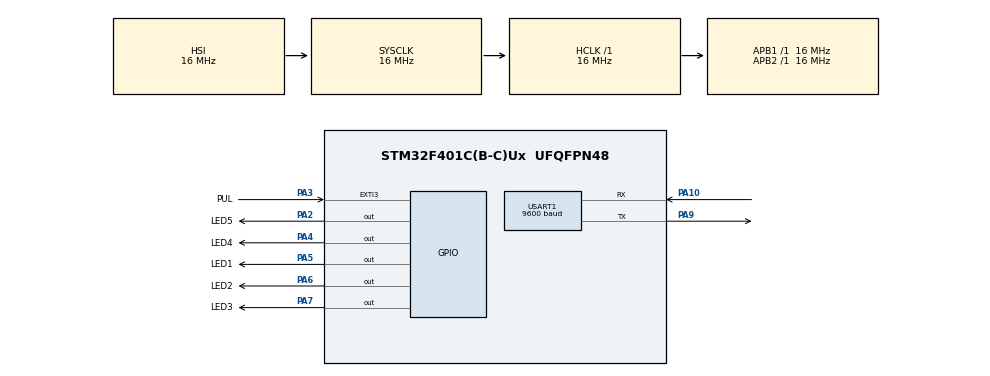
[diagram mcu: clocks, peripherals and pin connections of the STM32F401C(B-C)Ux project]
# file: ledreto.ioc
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Dma.Request0=USART1_RX
Dma.USART1_RX.0.Direction=DMA_PERIPH_TO_MEMORY
Dma.USART1_RX.0.FIFOMode=DMA_FIFOMODE_DISABLE
Dma.USART1_RX.0.Instance=DMA2_Stream2
Dma.USART1_RX.0.MemDataAlignment=DMA_MDATAALIGN_BYTE
Dma.USART1_RX.0.MemInc=DMA_MINC_ENABLE
Dma.USART1_RX.0.Mode=DMA_NORMAL
Dma.USART1_RX.0.PeriphDataAlignment=DMA_PDATAALIGN_BYTE
Dma.USART1_RX.0.PeriphInc=DMA_PINC_DISABLE
Dma.USART1_RX.0.Priority=DMA_PRIORITY_LOW
Mcu.Family=STM32F4
Mcu.Name=STM32F401C(B-C)Ux
Mcu.Package=UFQFPN48
NVIC.DMA2_Stream2_IRQn=true\:0\:0\:false\:false\:true\:false\:true\:true
NVIC.EXTI3_IRQn=true\:0\:0\:false\:false\:true\:true\:true\:true
NVIC.PriorityGroup=NVIC_PRIORITYGROUP_2
NVIC.TIM1_UP_TIM10_IRQn=true\:1\:0\:true\:false\:true\:true\:true\:true
NVIC.USART1_IRQn=true\:1\:0\:true\:false\:true\:true\:true\:true
PA10.Mode=Asynchronous
PA10.Signal=USART1_RX
PA2.GPIO_Label=LED5
PA2.Signal=GPIO_Output
PA3.GPIO_Label=PUL
PA3.GPIO_ModeDefaultEXTI=GPIO_MODE_IT_RISING
PA3.GPIO_PuPd=GPIO_PULLDOWN
PA3.Signal=GPXTI3
PA4.GPIO_Label=LED4
PA4.Signal=GPIO_Output
PA5.GPIO_Label=LED1
PA5.Signal=GPIO_Output
PA6.GPIO_Label=LED2
PA6.Signal=GPIO_Output
PA7.GPIO_Label=LED3
PA7.Signal=GPIO_Output
PA9.Mode=Asynchronous
PA9.Signal=USART1_TX
ProjectManager.HeapSize=0x200
ProjectManager.StackSize=0x400
ProjectManager.TargetToolchain=CMake
RCC.AHBFreq_Value=16000000
RCC.APB1Freq_Value=16000000
RCC.APB2Freq_Value=16000000
RCC.CortexFreq_Value=16000000
RCC.HSE_VALUE=25000000
RCC.HSI_VALUE=16000000
RCC.LSE_VALUE=32768
RCC.SYSCLKFreq_VALUE=16000000
RCC.VCOOutputFreq_Value=192000000
TIM1.AutoReloadPreload=TIM_AUTORELOAD_PRELOAD_ENABLE
TIM1.Period=100-1
TIM1.Prescaler=16000-1
USART1.BaudRate=9600
USART1.VirtualMode=VM_ASYNC
VP_TIM1_VS_ClockSourceINT.Mode=Internal
board=custom

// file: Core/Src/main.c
/* USER CODE BEGIN Header */
/**
  ******************************************************************************
  * @file           : main.c
  * @brief          : Main program body
  ******************************************************************************
  * @attention
  *
  * Copyright (c) 2026 STMicroelectronics.
  * All rights reserved.
  *
  * This software is licensed under terms that can be found in the LICENSE file
  * in the root directory of this software component.
  * If no LICENSE file comes with this software, it is provided AS-IS.
  *
  ******************************************************************************
  */
/* USER CODE END Header */
#include "main.h"

/* USER CODE BEGIN Includes */
#include "UARTRX.h"
#include "uart.h"
#include <string.h>

/* USER CODE END Includes */

TIM_HandleTypeDef htim1;

UART_HandleTypeDef huart1;
DMA_HandleTypeDef hdma_usart1_rx;

/* USER CODE BEGIN PV */
volatile uint16_t cont_500ms  = 0;
volatile uint16_t cont_2000ms = 0;

/* USER CODE END PV */

void SystemClock_Config(void);
static void MX_GPIO_Init(void);
static void MX_DMA_Init(void);
static void MX_TIM1_Init(void);
static void MX_USART1_UART_Init(void);
/* USER CODE BEGIN PFP */
void procesa_rx(void);

/* USER CODE END PFP */

/* Private user code -----------------------|----------------------------------*/
/* USER CODE BEGIN 0 */
void procesa_rx(void)
{
    const char *comando = (const char *)UARTRX1.trama_rx;

    if (strstr(comando, "LED5 ON") || strstr(comando, "CINCO ON"))
    {
        HAL_GPIO_WritePin(GPIOA, LED5_Pin, GPIO_PIN_SET);
        uartx_write_text(&huart1, "\r\n-> LED5 (CINCO) ENCENDIDO\r\n");
    }
    else if (strstr(comando, "LED5 OFF") || strstr(comando, "CINCO OFF"))
    {
        HAL_GPIO_WritePin(GPIOA, LED5_Pin, GPIO_PIN_RESET);
        uartx_write_text(&huart1, "\r\n-> LED5 (CINCO) APAGADO\r\n");
    }
    else
    {
        uartx_write_text(&huart1, "\r\n-> COMANDO NO VALIDO\r\n");
    }
}

/* USER CODE END 0 */

int main(void)
{

  /* MCU Configuration--------------------------------------------------------*/

  /* Reset of all peripherals, Initializes the Flash interface and the Systick. */
  HAL_Init();

  /* Configure the system clock */
  SystemClock_Config();

  /* Initialize all configured peripherals */
  MX_GPIO_Init();
  MX_DMA_Init();
  MX_TIM1_Init();
  MX_USART1_UART_Init();
  /* USER CODE BEGIN 2 */
    HAL_TIM_Base_Start_IT(&htim1);
    uartRX_it_idle_dma_init(&UARTRX1);
  /* USER CODE END 2 */

  /* Infinite loop */
    while (1)
    {

    /* USER CODE BEGIN 3 */
    if (UARTRX1.flag_rx == 1)
    {
        procesa_rx();
        uartRX_DMA_Re_init(&UARTRX1);
    }

    }
  /* USER CODE END 3 */
}

void SystemClock_Config(void)
{
  RCC_OscInitTypeDef RCC_OscInitStruct = {0};
  RCC_ClkInitTypeDef RCC_ClkInitStruct = {0};

  /** Configure the main internal regulator output voltage
  */
  __HAL_RCC_PWR_CLK_ENABLE();
  __HAL_PWR_VOLTAGESCALING_CONFIG(PWR_REGULATOR_VOLTAGE_SCALE2);

  /** Initializes the RCC Oscillators according to the specified parameters
  * in the RCC_OscInitTypeDef structure.
  */
  RCC_OscInitStruct.OscillatorType = RCC_OSCILLATORTYPE_HSI;
  RCC_OscInitStruct.HSIState = RCC_HSI_ON;
  RCC_OscInitStruct.HSICalibrationValue = RCC_HSICALIBRATION_DEFAULT;
  RCC_OscInitStruct.PLL.PLLState = RCC_PLL_NONE;
  if (HAL_RCC_OscConfig(&RCC_OscInitStruct) != HAL_OK)
  {
    Error_Handler();
  }

  /** Initializes the CPU, AHB and APB buses clocks
  */
  RCC_ClkInitStruct.ClockType = RCC_CLOCKTYPE_HCLK|RCC_CLOCKTYPE_SYSCLK
                              |RCC_CLOCKTYPE_PCLK1|RCC_CLOCKTYPE_PCLK2;
  RCC_ClkInitStruct.SYSCLKSource = RCC_SYSCLKSOURCE_HSI;
  RCC_ClkInitStruct.AHBCLKDivider = RCC_SYSCLK_DIV1;
  RCC_ClkInitStruct.APB1CLKDivider = RCC_HCLK_DIV1;
  RCC_ClkInitStruct.APB2CLKDivider = RCC_HCLK_DIV1;

  if (HAL_RCC_ClockConfig(&RCC_ClkInitStruct, FLASH_LATENCY_0) != HAL_OK)
  {
    Error_Handler();
  }
}

static void MX_TIM1_Init(void)
{

  TIM_ClockConfigTypeDef sClockSourceConfig = {0};
  TIM_MasterConfigTypeDef sMasterConfig = {0};

  htim1.Instance = TIM1;
  htim1.Init.Prescaler = 16000-1;
  htim1.Init.CounterMode = TIM_COUNTERMODE_UP;
  htim1.Init.Period = 100-1;
  htim1.Init.ClockDivision = TIM_CLOCKDIVISION_DIV1;
  htim1.Init.RepetitionCounter = 0;
  htim1.Init.AutoReloadPreload = TIM_AUTORELOAD_PRELOAD_ENABLE;
  if (HAL_TIM_Base_Init(&htim1) != HAL_OK)
  {
    Error_Handler();
  }
  sClockSourceConfig.ClockSource = TIM_CLOCKSOURCE_INTERNAL;
  if (HAL_TIM_ConfigClockSource(&htim1, &sClockSourceConfig) != HAL_OK)
  {
    Error_Handler();
  }
  sMasterConfig.MasterOutputTrigger = TIM_TRGO_RESET;
  sMasterConfig.MasterSlaveMode = TIM_MASTERSLAVEMODE_DISABLE;
  if (HAL_TIMEx_MasterConfigSynchronization(&htim1, &sMasterConfig) != HAL_OK)
  {
    Error_Handler();
  }

}

static void MX_USART1_UART_Init(void)
{

  huart1.Instance = USART1;
  huart1.Init.BaudRate = 9600;
  huart1.Init.WordLength = UART_WORDLENGTH_8B;
  huart1.Init.StopBits = UART_STOPBITS_1;
  huart1.Init.Parity = UART_PARITY_NONE;
  huart1.Init.Mode = UART_MODE_TX_RX;
  huart1.Init.HwFlowCtl = UART_HWCONTROL_NONE;
  huart1.Init.OverSampling = UART_OVERSAMPLING_16;
  if (HAL_UART_Init(&huart1) != HAL_OK)
  {
    Error_Handler();
  }

}

static void MX_DMA_Init(void)
{

  /* DMA controller clock enable */
  __HAL_RCC_DMA2_CLK_ENABLE();

  /* DMA interrupt init */
  /* DMA2_Stream2_IRQn interrupt configuration */
  HAL_NVIC_SetPriority(DMA2_Stream2_IRQn, 0, 0);
  HAL_NVIC_EnableIRQ(DMA2_Stream2_IRQn);

}

static void MX_GPIO_Init(void)
{
  GPIO_InitTypeDef GPIO_InitStruct = {0};

  /* GPIO Ports Clock Enable */
  __HAL_RCC_GPIOA_CLK_ENABLE();

  /*Configure GPIO pin Output Level */
  HAL_GPIO_WritePin(GPIOA, LED5_Pin|LED4_Pin|LED1_Pin|LED2_Pin
                          |LED3_Pin, GPIO_PIN_RESET);

  /*Configure GPIO pins : LED5_Pin LED4_Pin LED1_Pin LED2_Pin
                           LED3_Pin */
  GPIO_InitStruct.Pin = LED5_Pin|LED4_Pin|LED1_Pin|LED2_Pin
                          |LED3_Pin;
  GPIO_InitStruct.Mode = GPIO_MODE_OUTPUT_PP;
  GPIO_InitStruct.Pull = GPIO_NOPULL;
  GPIO_InitStruct.Speed = GPIO_SPEED_FREQ_LOW;
  HAL_GPIO_Init(GPIOA, &GPIO_InitStruct);

  /*Configure GPIO pin : PUL_Pin */
  GPIO_InitStruct.Pin = PUL_Pin;
  GPIO_InitStruct.Mode = GPIO_MODE_IT_RISING;
  GPIO_InitStruct.Pull = GPIO_PULLDOWN;
  HAL_GPIO_Init(PUL_GPIO_Port, &GPIO_InitStruct);

  /* EXTI interrupt init*/
  HAL_NVIC_SetPriority(EXTI3_IRQn, 0, 0);
  HAL_NVIC_EnableIRQ(EXTI3_IRQn);

}

/* USER CODE BEGIN 4 */
void HAL_TIM_PeriodElapsedCallback(TIM_HandleTypeDef *htim)
{
    if (htim->Instance == TIM1)
    {
        // LED1 (PA5): Cambia de estado CADA 100 ms
        HAL_GPIO_TogglePin(LED1_GPIO_Port, LED1_Pin);

        // Incrementar los contadores
        cont_500ms++;
        cont_2000ms++;

        // LED2 (PA6): Cambia cada 5 interrupciones (5 * 100 ms = 500 ms)
        if (cont_500ms >= 5)
        {
            HAL_GPIO_TogglePin(LED2_GPIO_Port, LED2_Pin);
            cont_500ms = 0;
        }

        // LED3 (PA5): Cambia cada 20 interrupciones (20 * 100 ms = 2000 ms = 2 s)
        if (cont_2000ms >= 20)
        {
            HAL_GPIO_TogglePin(LED3_GPIO_Port, LED3_Pin);
            cont_2000ms = 0;
        }
    }
}
/* USER CODE END 4 */

void Error_Handler(void)
{
  __disable_irq();
  while (1)
  {
  }
}
